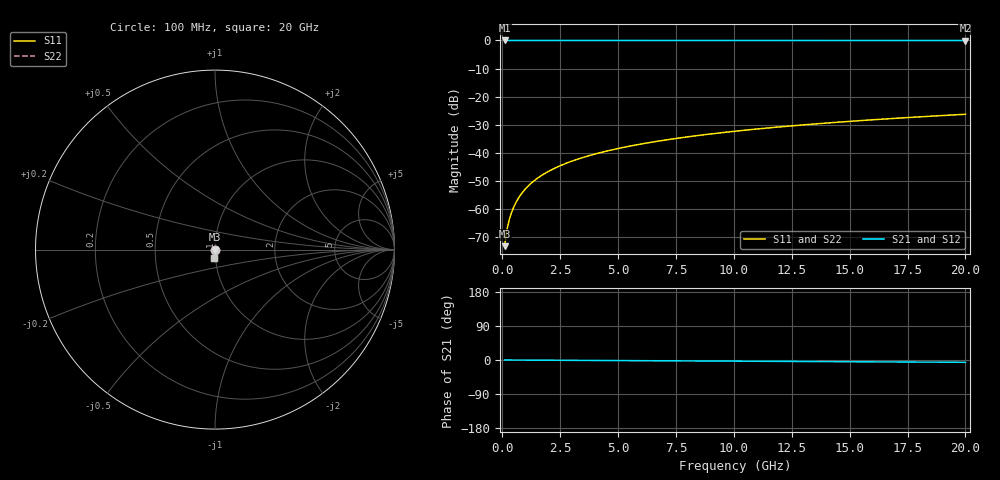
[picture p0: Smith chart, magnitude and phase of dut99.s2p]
! Touchstone file exported from HFSS 2026.1.0
!  File:  C:/ffzhzh/LocalFiles/Ansys_Project_Files/temp_train_TSV_99_1782959827_6388.aedt
!  Generated:  10:38:23 AM Jul  2, 2026
!  Design:  TSV
!  Project:  temp_train_TSV_99_1782959827_6388
! Variables:
!  h_bsmrdl = 2um
!  h_ox = 20um
!  h_rdl = 5um
!  h_sub = 53.92um
!  h_tmrdl = 5um
!  h_tsv = 53.92um
!  h_via = 3um
!  l_bsmrdl = 300um
!  l_sub = 428.4um
!  l_tmrdl = 200um
!  m_sub = 200um
!  pitch = 38.4um
!  r_tsv = 14.2um
!  s_tmrdl = 10um
!  w_bsmrdl = 18um
!  w_sub = 500um
!  w_tmrdl = 12um
!  x_tsv_center1 = 206um
!  x_tsv_center2 = 524um
!  x_tsv_center3 = 736um
!  x_tsv_center4 = 1054um
!  x_tsv_center5 = 1266um
!  x_tsv_center6 = 1584um
# GHz S MA R 50.000000
! Terminal data exported
! Port[1] = TSV1_1_T1
! Port[2] = TSV1_1_T2
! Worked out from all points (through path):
!   200 points, 100 MHz to 20 GHz, reference 50 ohm
!   highest |S21| = 0.00 dB at 100 MHz (marker M1); lowest = 0.0 dB at 20 GHz (marker M2)
!   lowest |S11| = -73.2 dB at 100 MHz (marker M3), VSWR 1.00, Z = 50 - j0.0209 ohm
!   |S11| at or under -10 dB: start of sweep to end of sweep
!   |S22| runs from -73.2 to -26.3 dB; largest |S21 - S12| = 1.3e-15
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0.1  0.0002191 -72.9  0.9999 -0.0  0.9999 -0.0  0.0002191 -72.9
! Gamma 0 0 0 0
! Port Impedance 50 0 50 0
0.2  0.0004287 -79.8  0.9999 -0.1  0.9999 -0.1  0.0004287 -79.8
0.3  0.0006464 -81.8  0.9999 -0.1  0.9999 -0.1  0.0006464 -81.8
0.4  0.0008706 -82.7  0.9999 -0.1  0.9999 -0.1  0.0008706 -82.7
0.5  0.0011 -83.3  0.9999 -0.2  0.9999 -0.2  0.0011 -83.3
0.7  0.001571 -84.2  0.9998 -0.2  0.9998 -0.2  0.001571 -84.2
0.8  0.00181 -84.5  0.9998 -0.3  0.9998 -0.3  0.00181 -84.5
1  0.002291 -85.2  0.9998 -0.3  0.9998 -0.3  0.002291 -85.2
1.2  0.002774 -85.7  0.9998 -0.4  0.9998 -0.4  0.002774 -85.7
1.4  0.003257 -86.2  0.9998 -0.4  0.9998 -0.4  0.003257 -86.2
1.7  0.003982 -86.8  0.9997 -0.5  0.9997 -0.5  0.003982 -86.8
2  0.004705 -87.2  0.9997 -0.6  0.9997 -0.6  0.004705 -87.2
2.7  0.006395 -88.0  0.9997 -0.8  0.9997 -0.8  0.006395 -88.0
3.5  0.008328 -88.7  0.9996 -1.1  0.9996 -1.1  0.008328 -88.7
4.2  0.01002 -89.1  0.9996 -1.3  0.9996 -1.3  0.01002 -89.1
5  0.01197 -89.5  0.9995 -1.5  0.9995 -1.5  0.01197 -89.5
6.8  0.01635 -90.3  0.9994 -2.1  0.9994 -2.1  0.01635 -90.3
8.3  0.02001 -91.0  0.9992 -2.5  0.9992 -2.5  0.02001 -90.9
10.1  0.02441 -91.6  0.9991 -3.1  0.9991 -3.1  0.02441 -91.6
13.4  0.03248 -92.8  0.9988 -4.1  0.9988 -4.1  0.03248 -92.8
16.7  0.04054 -94.0  0.9984 -5.1  0.9984 -5.1  0.04054 -94.0
20  0.0486 -95.0  0.998 -6.1  0.998 -6.1  0.0486 -95.0
